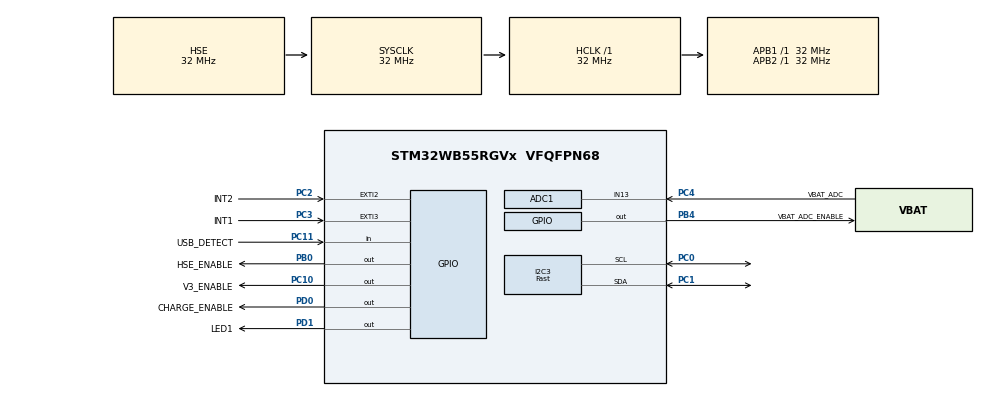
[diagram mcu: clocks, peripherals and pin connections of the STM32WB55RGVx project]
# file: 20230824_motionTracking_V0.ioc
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ADC1.Channel-8\#ChannelRegularConversion=ADC_CHANNEL_13
ADC1.NbrOfConversionFlag=1
ADC1.OffsetNumber-8\#ChannelRegularConversion=ADC_OFFSET_NONE
ADC1.Rank-8\#ChannelRegularConversion=1
ADC1.Resolution=ADC_RESOLUTION_8B
ADC1.SamplingTime-8\#ChannelRegularConversion=ADC_SAMPLETIME_2CYCLES_5
ADC1.master=1
I2C3.I2C_Speed_Mode=I2C_Fast
I2C3.Timing=0x00300F38
IWDG.Prescaler=IWDG_PRESCALER_256
IWDG.Reload=4000
Mcu.Family=STM32WB
Mcu.Name=STM32WB55RGVx
Mcu.Package=VFQFPN68
NVIC.ADC1_IRQn=true\:0\:0\:false\:false\:true\:true\:true\:true
NVIC.EXTI2_IRQn=true\:0\:0\:false\:false\:true\:true\:true\:true
NVIC.EXTI3_IRQn=true\:0\:0\:false\:false\:true\:true\:true\:true
NVIC.FLASH_IRQn=true\:0\:0\:false\:false\:true\:true\:true\:true
NVIC.HSEM_IRQn=true\:0\:0\:false\:false\:true\:false\:true\:true
NVIC.IPCC_C1_RX_IRQn=true\:0\:0\:false\:false\:true\:true\:true\:true
NVIC.IPCC_C1_TX_IRQn=true\:0\:0\:false\:false\:true\:true\:true\:true
NVIC.PriorityGroup=NVIC_PRIORITYGROUP_4
NVIC.RCC_IRQn=true\:1\:0\:true\:false\:true\:true\:false\:true
OSC_IN.Mode=HSE-External-Oscillator
OSC_IN.Signal=RCC_OSC_IN
OSC_OUT.Mode=HSE-External-Oscillator
OSC_OUT.Signal=RCC_OSC_OUT
PB0.GPIO_Label=HSE_ENABLE
PB0.PinState=GPIO_PIN_SET
PB0.Signal=GPIO_Output
PB4.GPIO_Label=VBAT_ADC_ENABLE
PB4.PinState=GPIO_PIN_SET
PB4.Signal=GPIO_Output
PC0.Mode=I2C
PC0.Signal=I2C3_SCL
PC1.Mode=I2C
PC1.Signal=I2C3_SDA
PC10.GPIO_Label=V3_ENABLE
PC10.Signal=GPIO_Output
PC11.GPIO_Label=USB_DETECT
PC11.Signal=GPIO_Input
PC14-OSC32_IN.Mode=LSE-External-Oscillator
PC14-OSC32_IN.Signal=RCC_OSC32_IN
PC15-OSC32_OUT.Mode=LSE-External-Oscillator
PC15-OSC32_OUT.Signal=RCC_OSC32_OUT
PC2.GPIO_Label=INT2
PC2.GPIO_ModeDefaultEXTI=GPIO_MODE_IT_FALLING
PC2.GPIO_PuPd=GPIO_NOPULL
PC2.Signal=GPXTI2
PC3.GPIO_Label=INT1
PC3.Signal=GPXTI3
PC4.GPIO_Label=VBAT_ADC
PC4.Signal=ADCx_IN13
PD0.GPIO_Label=CHARGE_ENABLE
PD0.PinState=GPIO_PIN_SET
PD0.Signal=GPIO_Output
PD1.GPIO_Label=LED1
PD1.Signal=GPIO_Output
ProjectManager.HeapSize=0x200
ProjectManager.StackSize=0x400
ProjectManager.TargetToolchain=STM32CubeIDE
RCC.ADCCLockSelection=RCC_ADCCLKSOURCE_SYSCLK
RCC.ADCFreq_Value=32000000
RCC.AHBFreq_Value=32000000
RCC.APB1Freq_Value=32000000
RCC.APB1TimFreq_Value=32000000
RCC.APB2Freq_Value=32000000
RCC.APB2TimFreq_Value=32000000
RCC.APB3Freq_Value=16000000
RCC.CortexFreq_Value=32000000
RCC.HCLKFreq_Value=32000000
RCC.HSE_VALUE=32000000
RCC.HSI48_VALUE=48000000
RCC.HSI_VALUE=16000000
RCC.PLLP=RCC_PLLP_DIV4
RCC.PLLSAI1N=6
RCC.PLLSourceVirtual=RCC_PLLSOURCE_HSI
RCC.RFWKPClockSelection=RCC_RFWKPCLKSOURCE_LSE
RCC.RTCClockSelection=RCC_RTCCLKSOURCE_LSE
RCC.SYSCLKFreq_VALUE=32000000
RCC.SYSCLKSource=RCC_SYSCLKSOURCE_HSE
RCC.USBFreq_Value=48000000
RCC.VCOOutputFreq_Value=128000000
RF1.Mode=RF1_Activate
RF1.Signal=RF_RF1
RTC.Format=RTC_FORMAT_BIN
SH.ADCx_IN13.0=ADC1_IN13,IN13-Single-Ended
STM32_WPAN.AD_SERVICE_CLASS_UUID_1=18 3E
STM32_WPAN.AD_SERVICE_CLASS_UUID_1_INV=[3E, 18]
STM32_WPAN.AD_SERVICE_CLASS_UUID_2=33 33
STM32_WPAN.AD_SERVICE_CLASS_UUID_2_INV=[33, 33]
STM32_WPAN.AD_SERVICE_CLASS_UUID_NBR=1
STM32_WPAN.AD_TYPE_APPEARANCE=0x00, 0xC0 /* GENERIC_WATCH_APPEARANCE */
STM32_WPAN.AD_TYPE_COMPLETE_LOCAL_NAME=Motion
STM32_WPAN.AD_TYPE_COMPLETE_LOCAL_NAME_LENGTH=7
STM32_WPAN.AD_TYPE_MANUFACTURER_DATA_1=00
STM32_WPAN.AD_TYPE_MANUFACTURER_DATA_2=02
STM32_WPAN.AD_TYPE_MANUFACTURER_DATA_3=03
STM32_WPAN.AD_TYPE_MANUFACTURER_DATA_4=04
STM32_WPAN.AD_TYPE_MANUFACTURER_DATA_5=05
STM32_WPAN.AD_TYPE_MANUFACTURER_DATA_6=06
STM32_WPAN.AD_TYPE_MANUFACTURER_DATA_COMMENT_1=battery voltage
STM32_WPAN.AD_TYPE_MANUFACTURER_DATA_COMMENT_2=12
STM32_WPAN.AD_TYPE_MANUFACTURER_DATA_COMMENT_3=13
STM32_WPAN.AD_TYPE_MANUFACTURER_DATA_COMMENT_4=14
STM32_WPAN.AD_TYPE_MANUFACTURER_DATA_COMMENT_5=15
STM32_WPAN.AD_TYPE_MANUFACTURER_DATA_COMMENT_6=16
STM32_WPAN.AD_TYPE_MANUFACTURER_DATA_NBR=1
STM32_WPAN.BLE_CFG_SVC_MAX_NBR_CB=12
STM32_WPAN.CFG_BLE_ATT_VALUE_ARRAY_SIZE=1344
STM32_WPAN.CFG_BLE_CORE_VERSION=SHCI_C2_BLE_INIT_BLE_CORE_5_3
STM32_WPAN.CFG_BLE_MAX_ATT_MTU=250
STM32_WPAN.CFG_DEBUGGER_SUPPORTED=1
STM32_WPAN.CFG_FAST_CONN_ADV_INTERVAL_MAX=100
STM32_WPAN.CFG_FAST_CONN_ADV_INTERVAL_MIN=80
STM32_WPAN.CFG_GAP_DEVICE_NAME=motionSensor
STM32_WPAN.CFG_GAP_DEVICE_NAME_LENGTH=12
STM32_WPAN.CFG_HW_TS_MAX_NBR_CONCURRENT_TIMER=10
STM32_WPAN.CFG_LPM_SUPPORTED=1
STM32_WPAN.CFG_TX_POWER=(0x1F) /* 6dBm */
STM32_WPAN.CFG_USE_SMPS=1
STM32_WPAN.CUSTOM_P2P_SERVER=Disabled
STM32_WPAN.CUSTOM_TEMPLATE=Enabled
STM32_WPAN.DBG_TRACE_USE_CIRCULAR_QUEUE=0
STM32_WPAN.GAP_PERIPHERAL_ROLE=1
STM32_WPAN.INCLUDE_AD_TYPE_128_BIT_SERV_UUID_CMPLT_LIST=0
STM32_WPAN.INCLUDE_AD_TYPE_16_BIT_SERV_UUID_CMPLT_LIST=1
STM32_WPAN.INCLUDE_AD_TYPE_APPEARANCE=1
STM32_WPAN.INCLUDE_AD_TYPE_COMPLETE_LOCAL_NAME=1
STM32_WPAN.INCLUDE_AD_TYPE_LE_ROLE=1
STM32_WPAN.INCLUDE_AD_TYPE_MANUFACTURER_SPECIFIC_DATA=1
STM32_WPAN.INCLUDE_AD_TYPE_SHORTENED_LOCAL_NAME=0
STM32_WPAN.LOCAL_NAME=L1
STM32_WPAN.LOCAL_NAME_FORMATTED=,'L','1'
STM32_WPAN.NUMBER_OF_SERVICES=2
STM32_WPAN.SERVICE1_CHAR1_GATT_NOTIFY_ATTRIBUTE_WRITE=\ 
STM32_WPAN.SERVICE1_CHAR1_GATT_NOTIFY_READ_REQ_AND_WAIT_FOR_APPL_RESP=GATT_NOTIFY_READ_REQ_AND_WAIT_FOR_APPL_RESP
STM32_WPAN.SERVICE1_CHAR1_GATT_NOTIFY_WRITE_REQ_AND_WAIT_FOR_APPL_RESP=\ 
STM32_WPAN.SERVICE1_CHAR1_LONG_NAME=savedActData
STM32_WPAN.SERVICE1_CHAR1_PROP_NOTIFY=CHAR_PROP_NOTIFY
STM32_WPAN.SERVICE1_CHAR1_PROP_READ=CHAR_PROP_READ
STM32_WPAN.SERVICE1_CHAR1_SHORT_NAME=sActDat
STM32_WPAN.SERVICE1_CHAR1_UUID=2A D3
STM32_WPAN.SERVICE1_CHAR1_UUID_TYPE=0x01
STM32_WPAN.SERVICE1_CHAR1_VALUE_LENGTH=36
STM32_WPAN.SERVICE1_CHAR2_ATTR_PERMISSION_AUTHOR_READ=\ 
STM32_WPAN.SERVICE1_CHAR2_GATT_NOTIFY_ATTRIBUTE_WRITE=\ 
STM32_WPAN.SERVICE1_CHAR2_GATT_NOTIFY_READ_REQ_AND_WAIT_FOR_APPL_RESP=\ 
STM32_WPAN.SERVICE1_CHAR2_GATT_NOTIFY_WRITE_REQ_AND_WAIT_FOR_APPL_RESP=\ 
STM32_WPAN.SERVICE1_CHAR2_LONG_NAME=numberSavedActData
STM32_WPAN.SERVICE1_CHAR2_PROP_READ=CHAR_PROP_READ
STM32_WPAN.SERVICE1_CHAR2_SHORT_NAME=numActDat
STM32_WPAN.SERVICE1_CHAR2_UUID=2B 45
STM32_WPAN.SERVICE1_CHAR2_UUID_TYPE=0x01
STM32_WPAN.SERVICE1_CHAR2_VALUE_LENGTH=2
STM32_WPAN.SERVICE1_CHAR3_GATT_NOTIFY_READ_REQ_AND_WAIT_FOR_APPL_RESP=GATT_NOTIFY_READ_REQ_AND_WAIT_FOR_APPL_RESP
STM32_WPAN.SERVICE1_CHAR3_GATT_NOTIFY_WRITE_REQ_AND_WAIT_FOR_APPL_RESP=\ 
STM32_WPAN.SERVICE1_CHAR3_LONG_NAME=realTimeClock
STM32_WPAN.SERVICE1_CHAR3_PROP_READ=CHAR_PROP_READ
STM32_WPAN.SERVICE1_CHAR3_PROP_WRITE=CHAR_PROP_WRITE
STM32_WPAN.SERVICE1_CHAR3_SHORT_NAME=rtc
STM32_WPAN.SERVICE1_CHAR3_UUID=2B 91
STM32_WPAN.SERVICE1_CHAR3_UUID_TYPE=0x01
STM32_WPAN.SERVICE1_CHAR3_VALUE_LENGTH=6
STM32_WPAN.SERVICE1_CHAR4_GATT_NOTIFY_READ_REQ_AND_WAIT_FOR_APPL_RESP=GATT_NOTIFY_READ_REQ_AND_WAIT_FOR_APPL_RESP
STM32_WPAN.SERVICE1_CHAR4_GATT_NOTIFY_WRITE_REQ_AND_WAIT_FOR_APPL_RESP=\ 
STM32_WPAN.SERVICE1_CHAR4_LONG_NAME=stepCounterInt
STM32_WPAN.SERVICE1_CHAR4_PROP_READ=CHAR_PROP_READ
STM32_WPAN.SERVICE1_CHAR4_PROP_WRITE=CHAR_PROP_WRITE
STM32_WPAN.SERVICE1_CHAR4_SHORT_NAME=stepCounterInt
STM32_WPAN.SERVICE1_CHAR4_UUID=2B 05
STM32_WPAN.SERVICE1_CHAR4_UUID_TYPE=0x01
STM32_WPAN.SERVICE1_CHAR4_VALUE_LENGTH=4
STM32_WPAN.SERVICE1_CHAR5_GATT_NOTIFY_READ_REQ_AND_WAIT_FOR_APPL_RESP=\ 
STM32_WPAN.SERVICE1_CHAR5_GATT_NOTIFY_WRITE_REQ_AND_WAIT_FOR_APPL_RESP=\ 
STM32_WPAN.SERVICE1_CHAR5_LONG_NAME=stepCounterInt
STM32_WPAN.SERVICE1_CHAR5_PROP_WRITE=CHAR_PROP_WRITE
STM32_WPAN.SERVICE1_CHAR5_SHORT_NAME=stCtInt
STM32_WPAN.SERVICE1_CHAR5_UUID=2B 1F
STM32_WPAN.SERVICE1_CHAR5_UUID_TYPE=0x01
STM32_WPAN.SERVICE1_LONG_NAME=activityData
STM32_WPAN.SERVICE1_NUMBER_OF_CHARACTERISTICS=4
STM32_WPAN.SERVICE1_SHORT_NAME=activityDat
STM32_WPAN.SERVICE1_TYPE=PRIMARY_SERVICE
STM32_WPAN.SERVICE1_UUID=2B 3D
STM32_WPAN.SERVICE1_UUID_TYPE=0x01
STM32_WPAN.SERVICE2_CHAR1_GATT_NOTIFY_ATTRIBUTE_WRITE=\ 
STM32_WPAN.SERVICE2_CHAR1_GATT_NOTIFY_READ_REQ_AND_WAIT_FOR_APPL_RESP=\ 
STM32_WPAN.SERVICE2_CHAR1_GATT_NOTIFY_WRITE_REQ_AND_WAIT_FOR_APPL_RESP=\ 
STM32_WPAN.SERVICE2_CHAR1_LONG_NAME=batteryLevel
STM32_WPAN.SERVICE2_CHAR1_PROP_READ=CHAR_PROP_READ
STM32_WPAN.SERVICE2_CHAR1_SHORT_NAME=batLvl
STM32_WPAN.SERVICE2_CHAR1_UUID=2A 19
STM32_WPAN.SERVICE2_CHAR1_UUID_TYPE=0x01
STM32_WPAN.SERVICE2_CHAR2_GATT_NOTIFY_READ_REQ_AND_WAIT_FOR_APPL_RESP=\ 
STM32_WPAN.SERVICE2_CHAR2_GATT_NOTIFY_WRITE_REQ_AND_WAIT_FOR_APPL_RESP=\ 
STM32_WPAN.SERVICE2_CHAR2_LONG_NAME=batteryLevel
STM32_WPAN.SERVICE2_CHAR2_PROP_INDICATE=CHAR_PROP_INDICATE
STM32_WPAN.SERVICE2_CHAR2_PROP_READ=CHAR_PROP_READ
STM32_WPAN.SERVICE2_CHAR2_SHORT_NAME=batLvl
STM32_WPAN.SERVICE2_CHAR2_UUID=2A 19
STM32_WPAN.SERVICE2_CHAR2_UUID_TYPE=0x01
STM32_WPAN.SERVICE2_CHAR3_GATT_NOTIFY_READ_REQ_AND_WAIT_FOR_APPL_RESP=\ 
STM32_WPAN.SERVICE2_CHAR3_GATT_NOTIFY_WRITE_REQ_AND_WAIT_FOR_APPL_RESP=\ 
STM32_WPAN.SERVICE2_CHAR3_LONG_NAME=stayConnected
STM32_WPAN.SERVICE2_CHAR3_PROP_INDICATE=CHAR_PROP_INDICATE
STM32_WPAN.SERVICE2_CHAR3_PROP_READ=CHAR_PROP_READ
STM32_WPAN.SERVICE2_CHAR3_PROP_WRITE=CHAR_PROP_WRITE
STM32_WPAN.SERVICE2_CHAR3_SHORT_NAME=stConn
STM32_WPAN.SERVICE2_CHAR3_UUID=2B 1F
STM32_WPAN.SERVICE2_CHAR3_UUID_TYPE=0x01
STM32_WPAN.SERVICE2_CHAR4_GATT_NOTIFY_READ_REQ_AND_WAIT_FOR_APPL_RESP=\ 
STM32_WPAN.SERVICE2_CHAR4_GATT_NOTIFY_WRITE_REQ_AND_WAIT_FOR_APPL_RESP=\ 
STM32_WPAN.SERVICE2_CHAR4_LONG_NAME=enterPassword
STM32_WPAN.SERVICE2_CHAR4_PROP_WRITE=CHAR_PROP_WRITE
STM32_WPAN.SERVICE2_CHAR4_SHORT_NAME=password
STM32_WPAN.SERVICE2_CHAR4_UUID=2A 29
STM32_WPAN.SERVICE2_CHAR4_UUID_TYPE=0x01
STM32_WPAN.SERVICE2_CHAR5_GATT_NOTIFY_READ_REQ_AND_WAIT_FOR_APPL_RESP=\ 
STM32_WPAN.SERVICE2_CHAR5_GATT_NOTIFY_WRITE_REQ_AND_WAIT_FOR_APPL_RESP=\ 
STM32_WPAN.SERVICE2_CHAR5_LONG_NAME=enterPassword
STM32_WPAN.SERVICE2_CHAR5_PROP_WRITE=CHAR_PROP_WRITE
STM32_WPAN.SERVICE2_CHAR5_SHORT_NAME=password
STM32_WPAN.SERVICE2_CHAR5_UUID=2A 29
STM32_WPAN.SERVICE2_CHAR5_UUID_TYPE=0x01
STM32_WPAN.SERVICE2_LONG_NAME=deviceData
STM32_WPAN.SERVICE2_NUMBER_OF_CHARACTERISTICS=1
STM32_WPAN.SERVICE2_SHORT_NAME=deviceDat
STM32_WPAN.SERVICE2_UUID=18 0A
STM32_WPAN.SERVICE2_UUID_TYPE=0x01
STM32_WPAN.SERVICE3_CHAR1_GATT_NOTIFY_ATTRIBUTE_WRITE=\ 
STM32_WPAN.SERVICE3_CHAR1_GATT_NOTIFY_READ_REQ_AND_WAIT_FOR_APPL_RESP=\ 
STM32_WPAN.SERVICE3_CHAR1_GATT_NOTIFY_WRITE_REQ_AND_WAIT_FOR_APPL_RESP=\ 
STM32_WPAN.SERVICE3_CHAR1_LONG_NAME=savedActData
STM32_WPAN.SERVICE3_CHAR1_PROP_READ=CHAR_PROP_READ
STM32_WPAN.SERVICE3_CHAR1_SHORT_NAME=sActDat
STM32_WPAN.SERVICE3_CHAR1_UUID=2A D3
STM32_WPAN.SERVICE3_CHAR1_UUID_TYPE=0x01
STM32_WPAN.SERVICE3_CHAR1_VALUE_LENGTH=36
STM32_WPAN.SERVICE3_CHAR2_GATT_NOTIFY_ATTRIBUTE_WRITE=\ 
STM32_WPAN.SERVICE3_CHAR2_GATT_NOTIFY_READ_REQ_AND_WAIT_FOR_APPL_RESP=\ 
STM32_WPAN.SERVICE3_CHAR2_GATT_NOTIFY_WRITE_REQ_AND_WAIT_FOR_APPL_RESP=\ 
STM32_WPAN.SERVICE3_CHAR2_LONG_NAME=numberSavedActData
STM32_WPAN.SERVICE3_CHAR2_PROP_READ=CHAR_PROP_READ
STM32_WPAN.SERVICE3_CHAR2_SHORT_NAME=numActDat
STM32_WPAN.SERVICE3_CHAR2_UUID=2B 45
STM32_WPAN.SERVICE3_CHAR2_UUID_TYPE=0x01
STM32_WPAN.SERVICE3_CHAR2_VALUE_LENGTH=2
STM32_WPAN.SERVICE3_CHAR3_GATT_NOTIFY_ATTRIBUTE_WRITE=GATT_NOTIFY_ATTRIBUTE_WRITE
STM32_WPAN.SERVICE3_CHAR3_GATT_NOTIFY_READ_REQ_AND_WAIT_FOR_APPL_RESP=\ 
STM32_WPAN.SERVICE3_CHAR3_GATT_NOTIFY_WRITE_REQ_AND_WAIT_FOR_APPL_RESP=\ 
STM32_WPAN.SERVICE3_CHAR3_LONG_NAME=RTC
STM32_WPAN.SERVICE3_CHAR3_PROP_READ=CHAR_PROP_READ
STM32_WPAN.SERVICE3_CHAR3_PROP_WRITE=CHAR_PROP_WRITE
STM32_WPAN.SERVICE3_CHAR3_SHORT_NAME=RTC
STM32_WPAN.SERVICE3_CHAR3_UUID=2B 91
STM32_WPAN.SERVICE3_CHAR3_UUID_TYPE=0x01
STM32_WPAN.SERVICE3_LONG_NAME=activityData
STM32_WPAN.SERVICE3_NUMBER_OF_CHARACTERISTICS=3
STM32_WPAN.SERVICE3_SHORT_NAME=activityDat
STM32_WPAN.SERVICE3_UUID=2B 3D
STM32_WPAN.SERVICE3_UUID_TYPE=0x01
VP_HSEM_VS_HSEM.Mode=HSEM_Activate
VP_IPCC_VS_IPCC.Mode=IPCC_Activate
VP_IWDG_VS_IWDG.Mode=IWDG_Activate
VP_MEMORYMAP_VS_MEMORYMAP.Mode=CurAppReg
VP_RTC_VS_RTC_Activate.Mode=RTC_Enabled
VP_RTC_VS_RTC_Calendar.Mode=RTC_Calendar
VP_SEQUENCER_VS_SEQUENCER.Mode=SEQUENCER_Enabled
VP_STM32_WPAN_VS_BLE_HOST.Mode=STM32_WPAN_Enabled
VP_TINY_LPM_VS_TINY_LPM.Mode=TINY_LPM_Enabled
board=custom

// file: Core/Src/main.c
/* USER CODE BEGIN Header */
/**
  ******************************************************************************
  * @file           : main.c
  * @brief          : Main program body
  ******************************************************************************
  * @attention
  *
  * Copyright (c) 2022 STMicroelectronics.
  * All rights reserved.
  *
  * This software is licensed under terms that can be found in the LICENSE file
  * in the root directory of this software component.
  * If no LICENSE file comes with this software, it is provided AS-IS.
  *
  ******************************************************************************
  */
/* USER CODE END Header */
#include "main.h"

/* USER CODE BEGIN PTD */
// TODO: change #define CFG_RTCCLK_DIVIDER_CONF 0 to 16 (in app_conf.h), otherwise the LSE will count with a divier of 16!
// sorry, that part of the code is automatically generated by ST and has to be changed each time you generate code again
/* USER CODE END PTD */

ADC_HandleTypeDef hadc1;

I2C_HandleTypeDef hi2c3;

IPCC_HandleTypeDef hipcc;

IWDG_HandleTypeDef hiwdg;

RTC_HandleTypeDef hrtc;

void SystemClock_Config(void);
void PeriphCommonClock_Config(void);
static void MX_GPIO_Init(void);
static void MX_ADC1_Init(void);
static void MX_IPCC_Init(void);
static void MX_RTC_Init(void);
static void MX_IWDG_Init(void);
static void MX_I2C3_Init(void);
static void MX_RF_Init(void);
/* USER CODE BEGIN PFP */
void SystemClock_STARTUP_Config(void);
/* USER CODE END PFP */

/* USER CODE BEGIN 0 */
int _write(int file, char *ptr, int len)
{
	int j=0;

	for (j=0; j<len;j++)
	{
		ITM_SendChar((*ptr++));
	}
	return len;
}
/* USER CODE END 0 */

int main(void)
{
  /* USER CODE BEGIN 1 */

//	__HAL_DBGMCU_FREEZE_IWDG(); // Watchdog beim Debuggen aktivieren
  /* USER CODE END 1 */

  /* MCU Configuration--------------------------------------------------------*/

  /* Reset of all peripherals, Initializes the Flash interface and the Systick. */
  HAL_Init();
  /* Config code for STM32_WPAN (HSE Tuning must be done before system clock configuration) */
  MX_APPE_Config();

  /* USER CODE BEGIN Init */
  SystemClock_STARTUP_Config();
  MX_GPIO_Init();
  HAL_GPIO_WritePin(HSE_ENABLE_GPIO_Port, HSE_ENABLE_Pin, 1);
  /* USER CODE END Init */

  /* Configure the system clock */
  SystemClock_Config();

/* Configure the peripherals common clocks */
  PeriphCommonClock_Config();

  /* IPCC initialisation */
  MX_IPCC_Init();

  /* Initialize all configured peripherals */
  MX_GPIO_Init();
  MX_ADC1_Init();
  MX_RTC_Init();
  MX_IWDG_Init();
  MX_I2C3_Init();
  MX_RF_Init();
  /* USER CODE BEGIN 2 */
  printf("Start\r\n");
  if (HAL_ADCEx_Calibration_Start(&hadc1, ADC_SINGLE_ENDED) != HAL_OK)
  {
    /* Calibration Error */
    Error_Handler();
    printf("Error Calibration\r\n");
  }

  /* USER CODE END 2 */

  /* Init code for STM32_WPAN */
  MX_APPE_Init();

  /* Infinite loop */
  while (1)
  {
    MX_APPE_Process();

  }
}

void SystemClock_Config(void)
{
  RCC_OscInitTypeDef RCC_OscInitStruct = {0};
  RCC_ClkInitTypeDef RCC_ClkInitStruct = {0};

  /** Configure LSE Drive Capability
  */
  HAL_PWR_EnableBkUpAccess();
  __HAL_RCC_LSEDRIVE_CONFIG(RCC_LSEDRIVE_MEDIUMHIGH);

  /** Configure the main internal regulator output voltage
  */
  __HAL_PWR_VOLTAGESCALING_CONFIG(PWR_REGULATOR_VOLTAGE_SCALE1);

  /** Initializes the RCC Oscillators according to the specified parameters
  * in the RCC_OscInitTypeDef structure.
  */
  RCC_OscInitStruct.OscillatorType = RCC_OSCILLATORTYPE_HSI|RCC_OSCILLATORTYPE_LSI1
                              |RCC_OSCILLATORTYPE_HSE|RCC_OSCILLATORTYPE_LSE;
  RCC_OscInitStruct.HSEState = RCC_HSE_ON;
  RCC_OscInitStruct.LSEState = RCC_LSE_ON;
  RCC_OscInitStruct.HSIState = RCC_HSI_ON;
  RCC_OscInitStruct.HSICalibrationValue = RCC_HSICALIBRATION_DEFAULT;
  RCC_OscInitStruct.LSIState = RCC_LSI_ON;
  RCC_OscInitStruct.PLL.PLLState = RCC_PLL_NONE;
  if (HAL_RCC_OscConfig(&RCC_OscInitStruct) != HAL_OK)
  {
    Error_Handler();
  }

  /** Configure the SYSCLKSource, HCLK, PCLK1 and PCLK2 clocks dividers
  */
  RCC_ClkInitStruct.ClockType = RCC_CLOCKTYPE_HCLK4|RCC_CLOCKTYPE_HCLK2
                              |RCC_CLOCKTYPE_HCLK|RCC_CLOCKTYPE_SYSCLK
                              |RCC_CLOCKTYPE_PCLK1|RCC_CLOCKTYPE_PCLK2;
  RCC_ClkInitStruct.SYSCLKSource = RCC_SYSCLKSOURCE_HSE;
  RCC_ClkInitStruct.AHBCLKDivider = RCC_SYSCLK_DIV1;
  RCC_ClkInitStruct.APB1CLKDivider = RCC_HCLK_DIV1;
  RCC_ClkInitStruct.APB2CLKDivider = RCC_HCLK_DIV1;
  RCC_ClkInitStruct.AHBCLK2Divider = RCC_SYSCLK_DIV1;
  RCC_ClkInitStruct.AHBCLK4Divider = RCC_SYSCLK_DIV1;

  if (HAL_RCC_ClockConfig(&RCC_ClkInitStruct, FLASH_LATENCY_1) != HAL_OK)
  {
    Error_Handler();
  }
}

void PeriphCommonClock_Config(void)
{
  RCC_PeriphCLKInitTypeDef PeriphClkInitStruct = {0};

  /** Initializes the peripherals clock
  */
  PeriphClkInitStruct.PeriphClockSelection = RCC_PERIPHCLK_SMPS|RCC_PERIPHCLK_RFWAKEUP;
  PeriphClkInitStruct.RFWakeUpClockSelection = RCC_RFWKPCLKSOURCE_LSE;
  PeriphClkInitStruct.SmpsClockSelection = RCC_SMPSCLKSOURCE_HSI;
  PeriphClkInitStruct.SmpsDivSelection = RCC_SMPSCLKDIV_RANGE1;

  if (HAL_RCCEx_PeriphCLKConfig(&PeriphClkInitStruct) != HAL_OK)
  {
    Error_Handler();
  }
}

static void MX_ADC1_Init(void)
{

  ADC_ChannelConfTypeDef sConfig = {0};

  /** Common config
  */
  hadc1.Instance = ADC1;
  hadc1.Init.ClockPrescaler = ADC_CLOCK_ASYNC_DIV1;
  hadc1.Init.Resolution = ADC_RESOLUTION_8B;
  hadc1.Init.DataAlign = ADC_DATAALIGN_RIGHT;
  hadc1.Init.ScanConvMode = ADC_SCAN_DISABLE;
  hadc1.Init.EOCSelection = ADC_EOC_SINGLE_CONV;
  hadc1.Init.LowPowerAutoWait = DISABLE;
  hadc1.Init.ContinuousConvMode = DISABLE;
  hadc1.Init.NbrOfConversion = 1;
  hadc1.Init.DiscontinuousConvMode = DISABLE;
  hadc1.Init.ExternalTrigConv = ADC_SOFTWARE_START;
  hadc1.Init.ExternalTrigConvEdge = ADC_EXTERNALTRIGCONVEDGE_NONE;
  hadc1.Init.DMAContinuousRequests = DISABLE;
  hadc1.Init.Overrun = ADC_OVR_DATA_PRESERVED;
  hadc1.Init.OversamplingMode = DISABLE;
  if (HAL_ADC_Init(&hadc1) != HAL_OK)
  {
    Error_Handler();
  }

  /** Configure Regular Channel
  */
  sConfig.Channel = ADC_CHANNEL_13;
  sConfig.Rank = ADC_REGULAR_RANK_1;
  sConfig.SamplingTime = ADC_SAMPLETIME_2CYCLES_5;
  sConfig.SingleDiff = ADC_SINGLE_ENDED;
  sConfig.OffsetNumber = ADC_OFFSET_NONE;
  sConfig.Offset = 0;
  if (HAL_ADC_ConfigChannel(&hadc1, &sConfig) != HAL_OK)
  {
    Error_Handler();
  }

}

static void MX_I2C3_Init(void)
{

  hi2c3.Instance = I2C3;
  hi2c3.Init.Timing = 0x00300F38;
  hi2c3.Init.OwnAddress1 = 0;
  hi2c3.Init.AddressingMode = I2C_ADDRESSINGMODE_7BIT;
  hi2c3.Init.DualAddressMode = I2C_DUALADDRESS_DISABLE;
  hi2c3.Init.OwnAddress2 = 0;
  hi2c3.Init.OwnAddress2Masks = I2C_OA2_NOMASK;
  hi2c3.Init.GeneralCallMode = I2C_GENERALCALL_DISABLE;
  hi2c3.Init.NoStretchMode = I2C_NOSTRETCH_DISABLE;
  if (HAL_I2C_Init(&hi2c3) != HAL_OK)
  {
    Error_Handler();
  }

  /** Configure Analogue filter
  */
  if (HAL_I2CEx_ConfigAnalogFilter(&hi2c3, I2C_ANALOGFILTER_ENABLE) != HAL_OK)
  {
    Error_Handler();
  }

  /** Configure Digital filter
  */
  if (HAL_I2CEx_ConfigDigitalFilter(&hi2c3, 0) != HAL_OK)
  {
    Error_Handler();
  }

}

static void MX_IPCC_Init(void)
{

  hipcc.Instance = IPCC;
  if (HAL_IPCC_Init(&hipcc) != HAL_OK)
  {
    Error_Handler();
  }

}

static void MX_IWDG_Init(void)
{

  hiwdg.Instance = IWDG;
  hiwdg.Init.Prescaler = IWDG_PRESCALER_256;
  hiwdg.Init.Window = 4095;
  hiwdg.Init.Reload = 4000;
  if (HAL_IWDG_Init(&hiwdg) != HAL_OK)
  {
    Error_Handler();
  }

}

static void MX_RF_Init(void)
{

}

static void MX_RTC_Init(void)
{

  RTC_TimeTypeDef sTime = {0};
  RTC_DateTypeDef sDate = {0};

  /** Initialize RTC Only
  */
  hrtc.Instance = RTC;
  hrtc.Init.HourFormat = RTC_HOURFORMAT_24;
  hrtc.Init.AsynchPrediv = CFG_RTC_ASYNCH_PRESCALER;
  hrtc.Init.SynchPrediv = CFG_RTC_SYNCH_PRESCALER;
  hrtc.Init.OutPut = RTC_OUTPUT_DISABLE;
  hrtc.Init.OutPutPolarity = RTC_OUTPUT_POLARITY_HIGH;
  hrtc.Init.OutPutType = RTC_OUTPUT_TYPE_OPENDRAIN;
  hrtc.Init.OutPutRemap = RTC_OUTPUT_REMAP_NONE;
  if (HAL_RTC_Init(&hrtc) != HAL_OK)
  {
    Error_Handler();
  }

  /** Initialize RTC and set the Time and Date
  */
  sTime.Hours = 0;
  sTime.Minutes = 0;
  sTime.Seconds = 0;
  sTime.SubSeconds = 0x0;
  sTime.DayLightSaving = RTC_DAYLIGHTSAVING_NONE;
  sTime.StoreOperation = RTC_STOREOPERATION_RESET;
  if (HAL_RTC_SetTime(&hrtc, &sTime, RTC_FORMAT_BIN) != HAL_OK)
  {
    Error_Handler();
  }
  sDate.WeekDay = RTC_WEEKDAY_MONDAY;
  sDate.Month = RTC_MONTH_JANUARY;
  sDate.Date = 1;
  sDate.Year = 0;

  if (HAL_RTC_SetDate(&hrtc, &sDate, RTC_FORMAT_BIN) != HAL_OK)
  {
    Error_Handler();
  }

}

static void MX_GPIO_Init(void)
{
  GPIO_InitTypeDef GPIO_InitStruct = {0};

  /* GPIO Ports Clock Enable */
  __HAL_RCC_GPIOC_CLK_ENABLE();
  __HAL_RCC_GPIOB_CLK_ENABLE();
  __HAL_RCC_GPIOD_CLK_ENABLE();

  /*Configure GPIO pin Output Level */
  HAL_GPIO_WritePin(GPIOB, HSE_ENABLE_Pin|VBAT_ADC_ENABLE_Pin, GPIO_PIN_SET);

  /*Configure GPIO pin Output Level */
  HAL_GPIO_WritePin(V3_ENABLE_GPIO_Port, V3_ENABLE_Pin, GPIO_PIN_RESET);

  /*Configure GPIO pin Output Level */
  HAL_GPIO_WritePin(CHARGE_ENABLE_GPIO_Port, CHARGE_ENABLE_Pin, GPIO_PIN_SET);

  /*Configure GPIO pin Output Level */
  HAL_GPIO_WritePin(LED1_GPIO_Port, LED1_Pin, GPIO_PIN_RESET);

  /*Configure GPIO pin : INT2_Pin */
  GPIO_InitStruct.Pin = INT2_Pin;
  GPIO_InitStruct.Mode = GPIO_MODE_IT_FALLING;
  GPIO_InitStruct.Pull = GPIO_NOPULL;
  HAL_GPIO_Init(INT2_GPIO_Port, &GPIO_InitStruct);

  /*Configure GPIO pin : INT1_Pin */
  GPIO_InitStruct.Pin = INT1_Pin;
  GPIO_InitStruct.Mode = GPIO_MODE_IT_RISING;
  GPIO_InitStruct.Pull = GPIO_NOPULL;
  HAL_GPIO_Init(INT1_GPIO_Port, &GPIO_InitStruct);

  /*Configure GPIO pins : HSE_ENABLE_Pin VBAT_ADC_ENABLE_Pin */
  GPIO_InitStruct.Pin = HSE_ENABLE_Pin|VBAT_ADC_ENABLE_Pin;
  GPIO_InitStruct.Mode = GPIO_MODE_OUTPUT_PP;
  GPIO_InitStruct.Pull = GPIO_NOPULL;
  GPIO_InitStruct.Speed = GPIO_SPEED_FREQ_LOW;
  HAL_GPIO_Init(GPIOB, &GPIO_InitStruct);

  /*Configure GPIO pin : V3_ENABLE_Pin */
  GPIO_InitStruct.Pin = V3_ENABLE_Pin;
  GPIO_InitStruct.Mode = GPIO_MODE_OUTPUT_PP;
  GPIO_InitStruct.Pull = GPIO_NOPULL;
  GPIO_InitStruct.Speed = GPIO_SPEED_FREQ_LOW;
  HAL_GPIO_Init(V3_ENABLE_GPIO_Port, &GPIO_InitStruct);

  /*Configure GPIO pin : USB_DETECT_Pin */
  GPIO_InitStruct.Pin = USB_DETECT_Pin;
  GPIO_InitStruct.Mode = GPIO_MODE_INPUT;
  GPIO_InitStruct.Pull = GPIO_NOPULL;
  HAL_GPIO_Init(USB_DETECT_GPIO_Port, &GPIO_InitStruct);

  /*Configure GPIO pins : CHARGE_ENABLE_Pin LED1_Pin */
  GPIO_InitStruct.Pin = CHARGE_ENABLE_Pin|LED1_Pin;
  GPIO_InitStruct.Mode = GPIO_MODE_OUTPUT_PP;
  GPIO_InitStruct.Pull = GPIO_NOPULL;
  GPIO_InitStruct.Speed = GPIO_SPEED_FREQ_LOW;
  HAL_GPIO_Init(GPIOD, &GPIO_InitStruct);

  /* EXTI interrupt init*/
  HAL_NVIC_SetPriority(EXTI2_IRQn, 0, 0);
  HAL_NVIC_EnableIRQ(EXTI2_IRQn);

  HAL_NVIC_SetPriority(EXTI3_IRQn, 0, 0);
  HAL_NVIC_EnableIRQ(EXTI3_IRQn);

}

/* USER CODE BEGIN 4 */
void SystemClock_STARTUP_Config(void)
{
  RCC_OscInitTypeDef RCC_OscInitStruct = {0};
  RCC_ClkInitTypeDef RCC_ClkInitStruct = {0};

  /** Configure LSE Drive Capability
  */
  HAL_PWR_EnableBkUpAccess();
  __HAL_RCC_LSEDRIVE_CONFIG(RCC_LSEDRIVE_MEDIUMHIGH);

  /** Configure the main internal regulator output voltage
  */
  __HAL_PWR_VOLTAGESCALING_CONFIG(PWR_REGULATOR_VOLTAGE_SCALE1);

  /** Initializes the RCC Oscillators according to the specified parameters
  * in the RCC_OscInitTypeDef structure.
  */
  RCC_OscInitStruct.OscillatorType = RCC_OSCILLATORTYPE_HSI|RCC_OSCILLATORTYPE_LSI1
                              |RCC_OSCILLATORTYPE_LSE|RCC_OSCILLATORTYPE_MSI;
  RCC_OscInitStruct.LSEState = RCC_LSE_ON;
  RCC_OscInitStruct.HSIState = RCC_HSI_ON;
  RCC_OscInitStruct.MSIState = RCC_MSI_ON;
  RCC_OscInitStruct.HSICalibrationValue = RCC_HSICALIBRATION_DEFAULT;
  RCC_OscInitStruct.MSICalibrationValue = RCC_MSICALIBRATION_DEFAULT;
  RCC_OscInitStruct.MSIClockRange = RCC_MSIRANGE_10;
  RCC_OscInitStruct.LSIState = RCC_LSI_ON;
  RCC_OscInitStruct.PLL.PLLState = RCC_PLL_NONE;
  if (HAL_RCC_OscConfig(&RCC_OscInitStruct) != HAL_OK)
  {
    Error_Handler();
  }

  /** Configure the SYSCLKSource, HCLK, PCLK1 and PCLK2 clocks dividers
  */
  RCC_ClkInitStruct.ClockType = RCC_CLOCKTYPE_HCLK4|RCC_CLOCKTYPE_HCLK2
                              |RCC_CLOCKTYPE_HCLK|RCC_CLOCKTYPE_SYSCLK
                              |RCC_CLOCKTYPE_PCLK1|RCC_CLOCKTYPE_PCLK2;
  RCC_ClkInitStruct.SYSCLKSource = RCC_SYSCLKSOURCE_MSI;
  RCC_ClkInitStruct.AHBCLKDivider = RCC_SYSCLK_DIV1;
  RCC_ClkInitStruct.APB1CLKDivider = RCC_HCLK_DIV1;
  RCC_ClkInitStruct.APB2CLKDivider = RCC_HCLK_DIV1;
  RCC_ClkInitStruct.AHBCLK2Divider = RCC_SYSCLK_DIV1;
  RCC_ClkInitStruct.AHBCLK4Divider = RCC_SYSCLK_DIV1;

  if (HAL_RCC_ClockConfig(&RCC_ClkInitStruct, FLASH_LATENCY_1) != HAL_OK)
  {
    Error_Handler();
  }
}
/* USER CODE END 4 */

void Error_Handler(void)
{
  __disable_irq();
  while (1)
  {
  }
}
